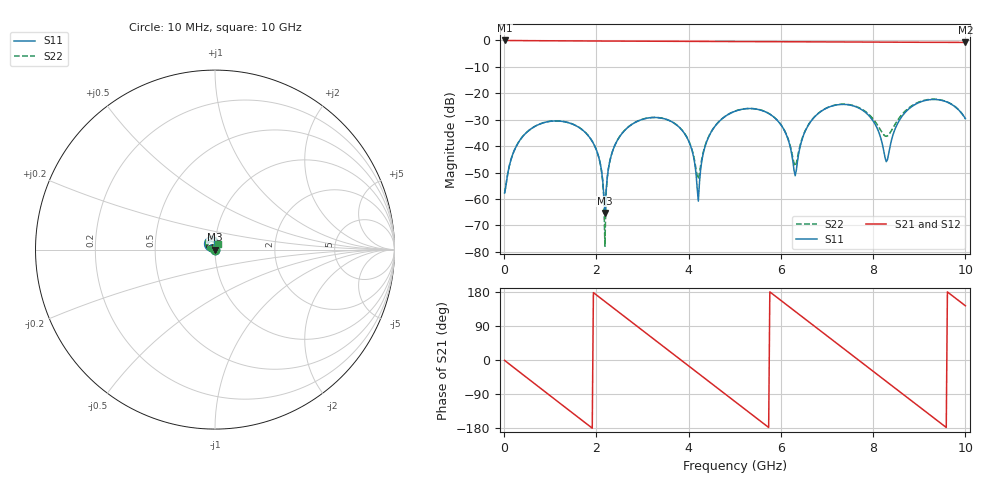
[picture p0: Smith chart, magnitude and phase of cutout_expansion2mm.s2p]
! Cutout equivalence validation - 38 mm 50 ohm symmetric stripline
! Case: Cutout, 2 mm expansion, stitching vias kept
! Solver: Ansys HFSS 3D Layout 2026 R1, broadband adaptive 1-5 GHz,
!  Delta S 0.02, interpolating sweep 10 MHz - 10 GHz
# GHz S MA R 50.000000
! Terminal data exported
! Port[1] = U1.PAD1.SIG
! Port[2] = U2.PAD1.SIG
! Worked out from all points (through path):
!   401 points, 10 MHz to 10 GHz, reference 50 ohm
!   highest |S21| = -0.01 dB at 10 MHz (marker M1); lowest = -0.7 dB at 10 GHz (marker M2)
!   group delay of S21, straight-line fit = 260 ps
!   lowest |S11| = -65.3 dB at 2.185 GHz (marker M3), VSWR 1.00, Z = 49.9 + j0.0137 ohm
!   |S11| at or under -10 dB: start of sweep to end of sweep
!   |S22| runs from -77.8 to -22.2 dB; largest |S21 - S12| = 2.2e-14
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0.01  0.001298 -4.9  0.9986 -1.0  0.9986 -1.0  0.001298 -4.9
0.31  0.01179 -99.7  0.9925 -29.5  0.9925 -29.5  0.01181 -99.4
0.885  0.02823 -166.2  0.9851 -83.7  0.9851 -83.7  0.02831 -165.6
1.685  0.0207 114.9  0.9773 -158.8  0.9773 -158.8  0.02077 115.6
2.01  0.008033 85.7  0.9746 170.7  0.9746 170.7  0.008039 84.7
2.185  0.0005454 165.5  0.9731 154.3  0.9731 154.3  0.0001283 -149.8
2.31  0.006108 -132.0  0.972 142.6  0.972 142.6  0.006105 -125.1
2.51  0.01543 -148.2  0.9703 123.8  0.9703 123.8  0.01546 -143.6
3.36  0.03448 133.0  0.963 44.2  0.963 44.2  0.03455 138.0
3.935  0.01609 80.9  0.9591 -9.6  0.9591 -9.6  0.01619 89.7
4.21  0.000914 159.0  0.9572 -35.3  0.9572 -35.3  0.002387 154.2
4.46  0.01668 -154.3  0.9552 -58.8  0.9552 -58.8  0.01691 -154.8
5.01  0.04596 156.6  0.9504 -110.2  0.9504 -110.2  0.04612 160.6
5.885  0.0332 77.9  0.9447 168.0  0.9447 168.0  0.03336 85.9
6.31  0.002758 124.2  0.9423 128.2  0.9423 128.2  0.004173 131.9
6.685  0.03229 173.9  0.9393 93.1  0.9393 93.1  0.03258 -179.7
7.56  0.05811 94.0  0.9324 11.3  0.9324 11.3  0.05893 110.7
8.335  0.007137 -108.2  0.9288 -61.2  0.9288 -61.2  0.01633 138.6
8.56  0.02999 -164.7  0.9269 -82.3  0.9269 -82.3  0.03366 161.8
8.985  0.06633 150.6  0.9225 -122.0  0.9225 -122.0  0.06787 139.2
9.51  0.07266 102.2  0.9188 -171.0  0.9188 -171.0  0.07325 97.5
10  0.0332 65.3  0.9176 143.1  0.9176 143.1  0.0329 61.6
